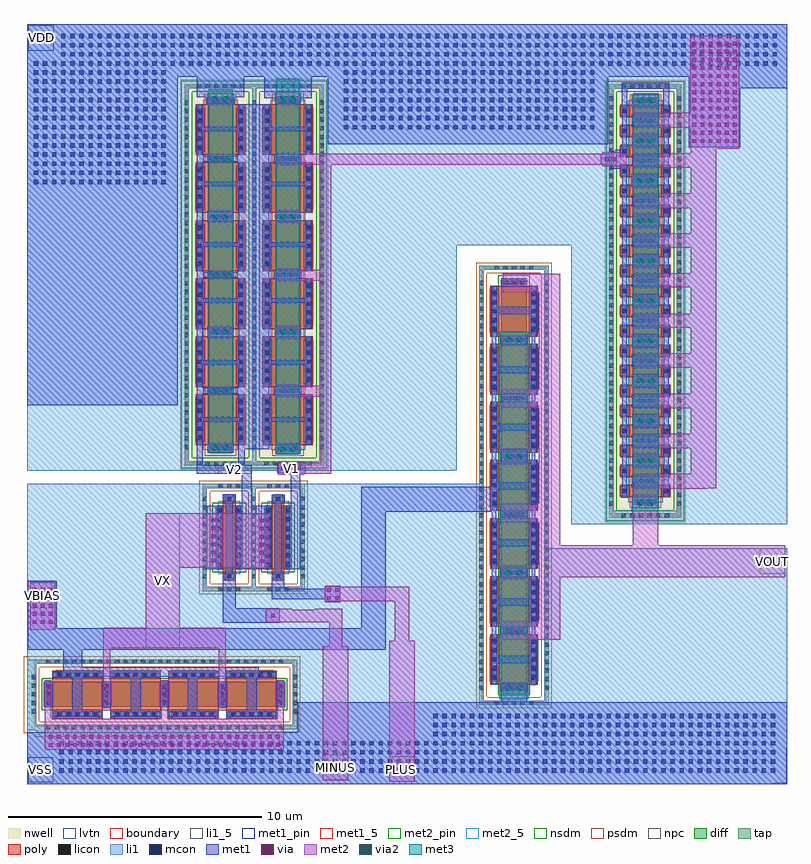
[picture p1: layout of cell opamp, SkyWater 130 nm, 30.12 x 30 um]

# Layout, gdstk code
from math import pi, radians
import gdstk
lib = gdstk.Library(unit=1e-6, precision=1e-09)
def R(c, l, rs):  # rectangles x0, y0, x1, y1
    for r in rs: c.add(gdstk.rectangle(r[:2], r[2:], *l))
def A(c, l, x, y, w, h, nx, ny, dx, dy):  # array of equal rectangles
    R(c, l, [(x+i*dx, y+j*dy, x+i*dx+w, y+j*dy+h) for i in range(nx) for j in range(ny)])
nwell = (64, 20)
diff = (65, 20)
tap = (65, 44)
poly = (66, 20)
licon = (66, 44)
li1_5 = (67, 5)
li1 = (67, 20)
mcon = (67, 44)
met1_5 = (68, 5)
met1_pin = (68, 16)
met1 = (68, 20)
via = (68, 44)
met2_5 = (69, 5)
met2_pin = (69, 16)
met2 = (69, 20)
via2 = (69, 44)
met3 = (70, 20)
nsdm = (93, 44)
psdm = (94, 20)
npc = (95, 20)
lvtn = (125, 44)
boundary = (235, 4)

sky130_fd_pr__pfet_01v8_ = lib.new_cell('sky130_fd_pr__pfet_01v8_lvt_ER3WAW')
R(sky130_fd_pr__pfet_01v8_, nwell, [(-8.735,-1.595,8.735,1.595)])
R(sky130_fd_pr__pfet_01v8_, diff, [(-8.045,-0.5,8.045,0.5)])
R(sky130_fd_pr__pfet_01v8_, tap, [(-8.555,-1.415,8.555,-1.245), (-8.555,-1.245,-8.385,1.245), (8.385,-1.245,8.555,1.245), (-8.555,1.245,8.555,1.415)])
A(sky130_fd_pr__pfet_01v8_, poly, -7.755, -0.985, 0.5, 1.97, 20, 1, 0.79, 0)
A(sky130_fd_pr__pfet_01v8_, licon, -8.075, -1.415, 0.17, 0.17, 48, 2, 0.34, 2.66)
A(sky130_fd_pr__pfet_01v8_, licon, -8.555, -0.935, 0.17, 0.17, 1, 6, 0, 0.34)
A(sky130_fd_pr__pfet_01v8_, licon, 8.385, -0.935, 0.17, 0.17, 1, 6, 0, 0.34)
A(sky130_fd_pr__pfet_01v8_, licon, -7.59, -0.905, 0.17, 0.17, 20, 2, 0.79, 1.64)
A(sky130_fd_pr__pfet_01v8_, licon, -7.985, -0.425, 0.17, 0.17, 21, 3, 0.79, 0.34)
A(sky130_fd_pr__pfet_01v8_, li1, -7.755, -0.905, 0.5, 0.17, 20, 2, 0.79, 1.64)
A(sky130_fd_pr__pfet_01v8_, li1, -7.985, -0.52, 0.17, 1.04, 21, 1, 0.79, 0)
R(sky130_fd_pr__pfet_01v8_, li1, [(-8.555,-1.415,8.555,-1.245), (-8.555,-1.245,-8.385,1.245), (8.385,-1.245,8.555,1.245), (-8.555,1.245,8.555,1.415)])
A(sky130_fd_pr__pfet_01v8_, mcon, -7.59, -0.905, 0.17, 0.17, 20, 2, 0.79, 1.64)
A(sky130_fd_pr__pfet_01v8_, mcon, -7.985, -0.265, 0.17, 0.17, 21, 2, 0.79, 0.36)
A(sky130_fd_pr__pfet_01v8_, met1, -7.735, -0.935, 0.46, 0.23, 20, 2, 0.79, 1.64)
A(sky130_fd_pr__pfet_01v8_, met1, -8.015, -0.5, 0.23, 1, 21, 1, 0.79, 0)
R(sky130_fd_pr__pfet_01v8_, nsdm, [(-8.68,-1.54,8.68,-1.12), (-8.68,-1.12,-8.26,1.12), (8.26,-1.12,8.68,1.12), (-8.68,1.12,8.68,1.54)])
R(sky130_fd_pr__pfet_01v8_, psdm, [(-8.17,-0.625,8.17,0.625)])
A(sky130_fd_pr__pfet_01v8_, npc, -7.69, -1.005, 0.37, 0.37, 20, 2, 0.79, 1.64)
R(sky130_fd_pr__pfet_01v8_, lvtn, [(-7.935,-0.68,7.935,0.68)])
R(sky130_fd_pr__pfet_01v8_, boundary, [(-8.47,-1.33,8.47,1.33)])

sky130_fd_pr__nfet_01v8_ = lib.new_cell('sky130_fd_pr__nfet_01v8_WWWVRA')
R(sky130_fd_pr__nfet_01v8_, diff, [(-8.16,-0.5,8.16,0.5)])
R(sky130_fd_pr__nfet_01v8_, tap, [(-8.67,-1.37,8.67,-1.2), (-8.67,-1.2,-8.5,1.2), (8.5,-1.2,8.67,1.2), (-8.67,1.2,8.67,1.37)])
A(sky130_fd_pr__nfet_01v8_, poly, -7.87, -0.94, 2, 1.88, 7, 1, 2.29, 0)
A(sky130_fd_pr__nfet_01v8_, licon, -8.075, -1.37, 0.17, 0.17, 48, 2, 0.34, 2.57)
A(sky130_fd_pr__nfet_01v8_, licon, -7.635, -0.86, 0.17, 0.17, 5, 2, 0.34, 1.55)
A(sky130_fd_pr__nfet_01v8_, licon, -5.345, -0.86, 0.17, 0.17, 5, 2, 0.34, 1.55)
A(sky130_fd_pr__nfet_01v8_, licon, -3.055, -0.86, 0.17, 0.17, 5, 2, 0.34, 1.55)
A(sky130_fd_pr__nfet_01v8_, licon, -0.765, -0.86, 0.17, 0.17, 5, 2, 0.34, 1.55)
A(sky130_fd_pr__nfet_01v8_, licon, 1.525, -0.86, 0.17, 0.17, 5, 2, 0.34, 1.55)
A(sky130_fd_pr__nfet_01v8_, licon, 3.815, -0.86, 0.17, 0.17, 5, 2, 0.34, 1.55)
A(sky130_fd_pr__nfet_01v8_, licon, 6.105, -0.86, 0.17, 0.17, 5, 2, 0.34, 1.55)
A(sky130_fd_pr__nfet_01v8_, licon, -8.67, -0.765, 0.17, 0.17, 1, 5, 0, 0.34)
A(sky130_fd_pr__nfet_01v8_, licon, 8.5, -0.765, 0.17, 0.17, 1, 5, 0, 0.34)
A(sky130_fd_pr__nfet_01v8_, licon, -8.1, -0.425, 0.17, 0.17, 8, 3, 2.29, 0.34)
A(sky130_fd_pr__nfet_01v8_, li1, -7.87, -0.86, 2, 0.17, 7, 2, 2.29, 1.55)
A(sky130_fd_pr__nfet_01v8_, li1, -8.1, -0.52, 0.17, 1.04, 8, 1, 2.29, 0)
R(sky130_fd_pr__nfet_01v8_, li1, [(-8.67,-1.37,8.67,-1.2), (-8.67,-1.2,-8.5,1.2), (8.5,-1.2,8.67,1.2), (-8.67,1.2,8.67,1.37)])
A(sky130_fd_pr__nfet_01v8_, mcon, -7.675, -0.86, 0.17, 0.17, 5, 2, 0.36, 1.55)
A(sky130_fd_pr__nfet_01v8_, mcon, -5.385, -0.86, 0.17, 0.17, 5, 2, 0.36, 1.55)
A(sky130_fd_pr__nfet_01v8_, mcon, -3.095, -0.86, 0.17, 0.17, 5, 2, 0.36, 1.55)
A(sky130_fd_pr__nfet_01v8_, mcon, -0.805, -0.86, 0.17, 0.17, 5, 2, 0.36, 1.55)
A(sky130_fd_pr__nfet_01v8_, mcon, 1.485, -0.86, 0.17, 0.17, 5, 2, 0.36, 1.55)
A(sky130_fd_pr__nfet_01v8_, mcon, 3.775, -0.86, 0.17, 0.17, 5, 2, 0.36, 1.55)
A(sky130_fd_pr__nfet_01v8_, mcon, 6.065, -0.86, 0.17, 0.17, 5, 2, 0.36, 1.55)
A(sky130_fd_pr__nfet_01v8_, mcon, -8.1, -0.265, 0.17, 0.17, 8, 2, 2.29, 0.36)
A(sky130_fd_pr__nfet_01v8_, met1, -7.85, -0.89, 1.96, 0.23, 7, 2, 2.29, 1.55)
A(sky130_fd_pr__nfet_01v8_, met1, -8.13, -0.5, 0.23, 1, 8, 1, 2.29, 0)
R(sky130_fd_pr__nfet_01v8_, nsdm, [(-8.285,-0.625,8.285,0.625)])
R(sky130_fd_pr__nfet_01v8_, psdm, [(-8.795,-1.495,8.795,-1.075), (-8.795,-1.075,-8.375,1.075), (8.375,-1.075,8.795,1.075), (-8.795,1.075,8.795,1.495)])
A(sky130_fd_pr__nfet_01v8_, npc, -7.735, -0.96, 1.73, 0.37, 7, 2, 2.29, 1.55)
R(sky130_fd_pr__nfet_01v8_, boundary, [(-8.58,-1.28,8.58,1.28)])

c_sky130_fd_pr__pfet_01v8_ = lib.new_cell('sky130_fd_pr__pfet_01v8_lvt_GW6ZVV')
R(c_sky130_fd_pr__pfet_01v8_, nwell, [(-7.705,-1.595,7.705,1.595)])
R(c_sky130_fd_pr__pfet_01v8_, diff, [(-7.015,-0.5,7.015,0.5)])
R(c_sky130_fd_pr__pfet_01v8_, tap, [(-7.525,-1.415,7.525,-1.245), (-7.525,-1.245,-7.355,1.245), (7.355,-1.245,7.525,1.245), (-7.525,1.245,7.525,1.415)])
A(c_sky130_fd_pr__pfet_01v8_, poly, -6.725, -0.985, 2, 1.97, 6, 1, 2.29, 0)
A(c_sky130_fd_pr__pfet_01v8_, licon, -6.885, -1.415, 0.17, 0.17, 41, 2, 0.34, 2.66)
A(c_sky130_fd_pr__pfet_01v8_, licon, -7.525, -0.935, 0.17, 0.17, 1, 6, 0, 0.34)
A(c_sky130_fd_pr__pfet_01v8_, licon, 7.355, -0.935, 0.17, 0.17, 1, 6, 0, 0.34)
A(c_sky130_fd_pr__pfet_01v8_, licon, -6.49, -0.905, 0.17, 0.17, 5, 2, 0.34, 1.64)
A(c_sky130_fd_pr__pfet_01v8_, licon, -4.2, -0.905, 0.17, 0.17, 5, 2, 0.34, 1.64)
A(c_sky130_fd_pr__pfet_01v8_, licon, -1.91, -0.905, 0.17, 0.17, 5, 2, 0.34, 1.64)
A(c_sky130_fd_pr__pfet_01v8_, licon, 0.38, -0.905, 0.17, 0.17, 5, 2, 0.34, 1.64)
A(c_sky130_fd_pr__pfet_01v8_, licon, 2.67, -0.905, 0.17, 0.17, 5, 2, 0.34, 1.64)
A(c_sky130_fd_pr__pfet_01v8_, licon, 4.96, -0.905, 0.17, 0.17, 5, 2, 0.34, 1.64)
A(c_sky130_fd_pr__pfet_01v8_, licon, -6.955, -0.425, 0.17, 0.17, 7, 3, 2.29, 0.34)
A(c_sky130_fd_pr__pfet_01v8_, li1, -6.725, -0.905, 2, 0.17, 6, 2, 2.29, 1.64)
A(c_sky130_fd_pr__pfet_01v8_, li1, -6.955, -0.52, 0.17, 1.04, 7, 1, 2.29, 0)
R(c_sky130_fd_pr__pfet_01v8_, li1, [(-7.525,-1.415,7.525,-1.245), (-7.525,-1.245,-7.355,1.245), (7.355,-1.245,7.525,1.245), (-7.525,1.245,7.525,1.415)])
A(c_sky130_fd_pr__pfet_01v8_, mcon, -6.53, -0.905, 0.17, 0.17, 5, 2, 0.36, 1.64)
A(c_sky130_fd_pr__pfet_01v8_, mcon, -4.24, -0.905, 0.17, 0.17, 5, 2, 0.36, 1.64)
A(c_sky130_fd_pr__pfet_01v8_, mcon, -1.95, -0.905, 0.17, 0.17, 5, 2, 0.36, 1.64)
A(c_sky130_fd_pr__pfet_01v8_, mcon, 0.34, -0.905, 0.17, 0.17, 5, 2, 0.36, 1.64)
A(c_sky130_fd_pr__pfet_01v8_, mcon, 2.63, -0.905, 0.17, 0.17, 5, 2, 0.36, 1.64)
A(c_sky130_fd_pr__pfet_01v8_, mcon, 4.92, -0.905, 0.17, 0.17, 5, 2, 0.36, 1.64)
A(c_sky130_fd_pr__pfet_01v8_, mcon, -6.955, -0.265, 0.17, 0.17, 7, 2, 2.29, 0.36)
A(c_sky130_fd_pr__pfet_01v8_, met1, -6.705, -0.935, 1.96, 0.23, 6, 2, 2.29, 1.64)
A(c_sky130_fd_pr__pfet_01v8_, met1, -6.985, -0.5, 0.23, 1, 7, 1, 2.29, 0)
R(c_sky130_fd_pr__pfet_01v8_, nsdm, [(-7.65,-1.54,7.65,-1.12), (-7.65,-1.12,-7.23,1.12), (7.23,-1.12,7.65,1.12), (-7.65,1.12,7.65,1.54)])
R(c_sky130_fd_pr__pfet_01v8_, psdm, [(-7.14,-0.625,7.14,0.625)])
A(c_sky130_fd_pr__pfet_01v8_, npc, -6.59, -1.005, 1.73, 0.37, 6, 2, 2.29, 1.64)
R(c_sky130_fd_pr__pfet_01v8_, lvtn, [(-6.905,-0.68,6.905,0.68)])
R(c_sky130_fd_pr__pfet_01v8_, boundary, [(-7.44,-1.33,7.44,1.33)])

c_sky130_fd_pr__nfet_01v8_ = lib.new_cell('sky130_fd_pr__nfet_01v8_VWWVRL')
R(c_sky130_fd_pr__nfet_01v8_, diff, [(-4.725,-0.5,4.725,0.5)])
R(c_sky130_fd_pr__nfet_01v8_, tap, [(-5.235,-1.37,5.235,-1.2), (-5.235,-1.2,-5.065,1.2), (5.065,-1.2,5.235,1.2), (-5.235,1.2,5.235,1.37)])
A(c_sky130_fd_pr__nfet_01v8_, poly, -4.435, -0.94, 2, 1.88, 4, 1, 2.29, 0)
A(c_sky130_fd_pr__nfet_01v8_, licon, -4.675, -1.37, 0.17, 0.17, 28, 2, 0.34, 2.57)
A(c_sky130_fd_pr__nfet_01v8_, licon, -4.2, -0.86, 0.17, 0.17, 5, 2, 0.34, 1.55)
A(c_sky130_fd_pr__nfet_01v8_, licon, -1.91, -0.86, 0.17, 0.17, 5, 2, 0.34, 1.55)
A(c_sky130_fd_pr__nfet_01v8_, licon, 0.38, -0.86, 0.17, 0.17, 5, 2, 0.34, 1.55)
A(c_sky130_fd_pr__nfet_01v8_, licon, 2.67, -0.86, 0.17, 0.17, 5, 2, 0.34, 1.55)
A(c_sky130_fd_pr__nfet_01v8_, licon, -5.235, -0.765, 0.17, 0.17, 1, 5, 0, 0.34)
A(c_sky130_fd_pr__nfet_01v8_, licon, 5.065, -0.765, 0.17, 0.17, 1, 5, 0, 0.34)
A(c_sky130_fd_pr__nfet_01v8_, licon, -4.665, -0.425, 0.17, 0.17, 5, 3, 2.29, 0.34)
A(c_sky130_fd_pr__nfet_01v8_, li1, -4.435, -0.86, 2, 0.17, 4, 2, 2.29, 1.55)
A(c_sky130_fd_pr__nfet_01v8_, li1, -4.665, -0.52, 0.17, 1.04, 5, 1, 2.29, 0)
R(c_sky130_fd_pr__nfet_01v8_, li1, [(-5.235,-1.37,5.235,-1.2), (-5.235,-1.2,-5.065,1.2), (5.065,-1.2,5.235,1.2), (-5.235,1.2,5.235,1.37)])
A(c_sky130_fd_pr__nfet_01v8_, mcon, -4.24, -0.86, 0.17, 0.17, 5, 2, 0.36, 1.55)
A(c_sky130_fd_pr__nfet_01v8_, mcon, -1.95, -0.86, 0.17, 0.17, 5, 2, 0.36, 1.55)
A(c_sky130_fd_pr__nfet_01v8_, mcon, 0.34, -0.86, 0.17, 0.17, 5, 2, 0.36, 1.55)
A(c_sky130_fd_pr__nfet_01v8_, mcon, 2.63, -0.86, 0.17, 0.17, 5, 2, 0.36, 1.55)
A(c_sky130_fd_pr__nfet_01v8_, mcon, -4.665, -0.265, 0.17, 0.17, 5, 2, 2.29, 0.36)
A(c_sky130_fd_pr__nfet_01v8_, met1, -4.415, -0.89, 1.96, 0.23, 4, 2, 2.29, 1.55)
A(c_sky130_fd_pr__nfet_01v8_, met1, -4.695, -0.5, 0.23, 1, 5, 1, 2.29, 0)
R(c_sky130_fd_pr__nfet_01v8_, nsdm, [(-4.85,-0.625,4.85,0.625)])
R(c_sky130_fd_pr__nfet_01v8_, psdm, [(-5.36,-1.495,5.36,-1.075), (-5.36,-1.075,-4.94,1.075), (4.94,-1.075,5.36,1.075), (-5.36,1.075,5.36,1.495)])
A(c_sky130_fd_pr__nfet_01v8_, npc, -4.3, -0.96, 1.73, 0.37, 4, 2, 2.29, 1.55)
R(c_sky130_fd_pr__nfet_01v8_, boundary, [(-5.15,-1.285,5.15,1.285)])

c_sky130_fd_pr__nfet_01v8__ = lib.new_cell('sky130_fd_pr__nfet_01v8_lvt_8TELWR')
R(c_sky130_fd_pr__nfet_01v8__, diff, [(-0.54,-1.25,0.54,1.25)])
R(c_sky130_fd_pr__nfet_01v8__, tap, [(-1.05,-2.12,1.05,-1.95), (-1.05,-1.95,-0.88,1.95), (0.88,-1.95,1.05,1.95), (-1.05,1.95,1.05,2.12)])
R(c_sky130_fd_pr__nfet_01v8__, poly, [(-0.25,-1.69,0.25,1.69)])
A(c_sky130_fd_pr__nfet_01v8__, licon, -0.425, -2.12, 0.17, 0.17, 3, 2, 0.34, 4.07)
A(c_sky130_fd_pr__nfet_01v8__, licon, -1.05, -1.615, 0.17, 0.17, 1, 10, 0, 0.34)
A(c_sky130_fd_pr__nfet_01v8__, licon, 0.88, -1.615, 0.17, 0.17, 1, 10, 0, 0.34)
A(c_sky130_fd_pr__nfet_01v8__, licon, -0.48, -1.105, 0.17, 0.17, 1, 7, 0, 0.34)
A(c_sky130_fd_pr__nfet_01v8__, licon, 0.31, -1.105, 0.17, 0.17, 1, 7, 0, 0.34)
R(c_sky130_fd_pr__nfet_01v8__, licon, [(-0.085,-1.61,0.085,-1.44), (-0.085,1.44,0.085,1.61)])
R(c_sky130_fd_pr__nfet_01v8__, li1, [(-1.05,-2.12,1.05,-1.95), (-1.05,-1.95,-0.88,1.95), (0.88,-1.95,1.05,1.95), (-0.25,-1.61,0.25,-1.44), (-0.48,-1.27,-0.31,1.27), (0.31,-1.27,0.48,1.27), (-0.25,1.44,0.25,1.61), (-1.05,1.95,1.05,2.12)])
A(c_sky130_fd_pr__nfet_01v8__, mcon, -0.48, -1.165, 0.17, 0.17, 1, 7, 0, 0.36)
A(c_sky130_fd_pr__nfet_01v8__, mcon, 0.31, -1.165, 0.17, 0.17, 1, 7, 0, 0.36)
R(c_sky130_fd_pr__nfet_01v8__, mcon, [(-0.085,-1.61,0.085,-1.44), (-0.085,1.44,0.085,1.61)])
R(c_sky130_fd_pr__nfet_01v8__, met1, [(-0.23,-1.64,0.23,-1.41), (-0.51,-1.25,-0.28,1.25), (0.28,-1.25,0.51,1.25), (-0.23,1.41,0.23,1.64)])
R(c_sky130_fd_pr__nfet_01v8__, nsdm, [(-0.665,-1.375,0.665,1.375)])
R(c_sky130_fd_pr__nfet_01v8__, psdm, [(-1.175,-2.245,1.175,-1.825), (-1.175,-1.825,-0.755,1.825), (0.755,-1.825,1.175,1.825), (-1.175,1.825,1.175,2.245)])
R(c_sky130_fd_pr__nfet_01v8__, npc, [(-0.185,-1.71,0.185,-1.34), (-0.185,1.34,0.185,1.71)])
R(c_sky130_fd_pr__nfet_01v8__, lvtn, [(-0.43,-1.43,0.43,1.43)])
R(c_sky130_fd_pr__nfet_01v8__, boundary, [(-0.96,-2.03,0.96,2.03)])

opamp = lib.new_cell('opamp')
R(opamp, tap, [(10.39,-13.5,16.91,-13.42), (10.3,-13.42,16.91,-13.37), (9.94,-13.37,16.91,-13.29), (9.94,-13.29,10.3,-10.59), (10.39,-13.29,16.91,-13.25)])
R(opamp, li1_5, [(14.63,-10.14,15.975,-4.82)])
R(opamp, li1, [(9.94,-15.5,39.39,-15.48), (9.94,-15.48,39.94,-13.29), (9.94,-13.29,10.3,-10.62), (10.39,-13.29,39.94,-13.25), (16.5,-13.25,39.94,-13.24), (19.9,-13.24,39.94,-13.16), (20.43,-13.16,39.94,-13.08), (20.59,-13.08,39.94,-12.83), (20.48,-12.83,39.94,-12.36), (20.48,-12.36,27.87,-10.68), (30.5,-12.36,39.94,-12.28), (30.46,-12.28,39.94,-6.2), (20.56,-10.68,27.85,-10.65), (10.33,-10.65,27.89,-10.62), (9.94,-10.62,27.89,-7.84), (9.94,-7.84,16.97,-3.65), (20.8,-7.84,27.85,-3.65), (31.43,-5.24,39.94,-4.71), (31.43,-4.71,32.98,5.76), (35.62,-4.71,39.94,-4.57), (35.64,-4.57,39.94,12.02), (9.94,-3.13,26.76,-3.12), (9.94,-3.12,26.91,-2.83), (9.94,-2.83,16.21,11.99), (21.56,-2.83,26.91,5.76), (21.56,5.76,33.03,11.99), (9.94,11.99,33.03,12.03), (34.3,12.02,39.94,12.03), (9.94,12.03,39.94,14.5)])
A(opamp, mcon, 11.215, -15.055, 0.17, 0.17, 79, 4, 0.36, 0.36)
A(opamp, mcon, 25.975, -13.615, 0.17, 0.17, 38, 3, 0.36, 0.36)
A(opamp, mcon, 10.205, 8.18, 0.17, 0.17, 15, 13, 0.36, 0.36)
A(opamp, mcon, 22.445, 10.34, 0.17, 0.17, 28, 7, 0.36, 0.36)
A(opamp, mcon, 10.205, 12.86, 0.17, 0.17, 82, 1, 0.36, 0)
A(opamp, mcon, 11.285, 13.22, 0.17, 0.17, 79, 3, 0.36, 0.36)
R(opamp, met1_5, [(17.48,-3.25,18.8,-2.91)])
R(opamp, met1_pin, [(9.98,-15.44,10.98,-14.44), (9.99,13.45,10.99,14.45)])
A(opamp, met1, 33.81, 0.97, 1.09, 0.48, 1, 4, 0, 1.58)
A(opamp, met1, 33.82, 3.33, 1.09, 0.48, 1, 3, 0, 1.58)
R(opamp, met1, [(9.94,-15.5,39.92,-14.07), (9.94,-14.07,39.94,-13.45), (20.63,-13.45,39.94,-12.27), (11.73,-12.74,12.11,-11.27), (16.28,-12.74,16.66,-11.27), (18.62,-12.74,19,-11.27), (14.04,-12.73,14.42,-11.27), (10.59,-12.46,10.95,-11.46), (12.89,-12.46,13.27,-11.46), (15.17,-12.46,15.55,-11.46), (17.46,-12.46,17.84,-11.46), (19.76,-12.46,20.14,-11.46), (28.66,-12.27,29.66,-11.87), (28.64,-11.87,29.68,-11.53), (29.86,-11.6,30,-10.73), (28.29,-11.51,28.46,-10.73), (11.63,-11.27,19.09,-11.22), (11.36,-11.22,19.09,-10.9), (11.36,-10.9,12.11,-10.21), (28.29,-10.73,30,-10.44), (28.29,-10.44,28.46,-8.46), (29.86,-10.44,30,-8.46), (9.98,-10.21,23.67,-10.205), (9.98,-10.205,24.1,-10.2), (9.97,-10.2,24.1,-9.345), (28.64,-9.57,29.68,-9.3), (9.97,-9.345,11.12,-7.48), (23.125,-9.345,24.1,-4.75), (17.67,-9.14,19.91,-8.56), (17.67,-8.56,18.17,-7.18), (28.29,-8.46,30,-8.17), (21.715,-8.325,22.31,-8.2), (19.6,-8.2,22.31,-7.79), (28.29,-8.17,28.46,-6.12), (29.86,-8.17,30,-6.12), (19.6,-7.79,20.1,-7.18), (21.715,-7.79,22.31,-7.67), (28.64,-7.35,29.68,-6.96), (17.78,-7.18,18.06,-4.36), (19.71,-7.18,19.99,-4.38), (20.13,-7.03,20.73,-4.52), (17.04,-7.02,17.64,-4.51), (18.2,-7.02,18.8,-4.51), (18.97,-7.02,19.57,-6.89), (18.94,-6.89,19.57,-4.9), (28.29,-6.12,30,-5.83), (28.29,-5.83,28.46,-4.75), (29.86,-5.83,30,-3.88), (28.64,-4.98,29.68,-4.72), (18.97,-4.9,19.57,-4.52), (23.125,-4.75,28.46,-3.88), (33.81,-4.61,34.87,-4.17), (20.35,-4.52,20.73,-3.24), (18.41,-4.51,18.8,-3.25), (19.6,-4.38,20.11,-4.08), (17.67,-4.36,18.17,-4.07), (33.43,-4.21,33.62,8.78), (35.07,-4.18,35.26,11.07), (23.125,-3.88,30,-3.775), (33.81,-3.79,34.9,-3.31), (28.29,-3.775,30,-3.59), (28.29,-3.59,28.46,-2.73), (29.86,-3.59,30,-1.56), (16.63,-3.25,18.8,-2.91), (19.81,-3.24,20.94,-2.82), (33.82,-2.98,34.91,-2.5), (16.63,-2.91,16.88,-2.01), (18.28,-2.91,18.53,-2.29), (28.64,-2.82,29.68,-2.31), (28.29,-2.73,28.49,-2.72), (28.29,-2.72,28.45,-2.4), (19.77,-2.46,20.7,-2.44), (19.74,-2.44,20.74,-2.09), (17.12,-2.43,18.03,-2.39), (28.29,-2.4,28.46,-1.56), (17.08,-2.39,18.09,-2.09), (18.28,-2.29,19.49,-1.98), (33.81,-2.2,34.9,-1.72), (17.12,-2.09,18.03,-2.08), (16.63,-2.01,16.85,-1.3), (18.29,-1.98,19.49,-1.21), (28.29,-1.56,30,-1.27), (33.82,-1.41,34.91,-0.93), (16.63,-1.3,16.88,-1.21), (28.29,-1.27,28.46,0.71), (29.86,-1.27,30,0.71), (16.63,-1.21,21.1,-1.03), (16.63,-1.03,16.88,-1), (18.29,-1.03,19.49,-0.2), (16.63,-1,16.85,-0.16), (33.81,-0.62,34.9,-0.14), (9.94,-0.55,15.89,12.41), (28.65,-0.44,29.66,-0.08), (18.28,-0.2,19.49,-0.09), (16.63,-0.16,16.87,-0.09), (19.68,-0.16,20.79,0.21), (16.63,-0.09,19.49,0.14), (16.63,0.14,16.87,0.23), (18.28,0.14,19.49,0.22), (33.81,0.17,34.9,0.65), (18.29,0.22,19.49,1.05), (16.63,0.23,16.85,1.05), (28.29,0.71,30,1), (28.29,1,28.46,3.04), (29.86,1,30,2.22), (16.63,1.05,21.11,1.23), (16.63,1.23,16.88,1.41), (18.29,1.23,19.49,3.49), (16.63,1.41,16.85,2.14), (33.8,1.75,34.89,2.23), (28.64,1.82,29.68,2.21), (17.12,2.13,18.03,2.15), (19.72,2.13,20.73,2.53), (16.63,2.14,16.87,2.19), (17.06,2.15,18.1,2.51), (16.63,2.19,16.88,2.44), (16.63,2.44,16.87,2.57), (16.63,2.57,16.85,3.39), (28.29,3.04,29.83,3.33), (28.29,3.33,28.46,4.14), (16.63,3.39,16.88,3.49), (16.63,3.49,21.16,3.67), (16.63,3.67,16.88,3.69), (18.29,3.67,19.49,4.39), (16.63,3.69,16.85,4.41), (29.86,4.1,30,4.13), (28.66,4.11,29.67,4.47), (18.28,4.39,19.49,4.48), (16.63,4.41,16.87,4.48), (19.68,4.42,20.79,4.79), (16.63,4.48,19.49,4.71), (16.63,4.71,16.87,4.87), (18.28,4.71,19.49,4.86), (18.29,4.86,19.49,5.7), (16.63,4.87,16.85,5.62), (16.63,5.62,16.88,5.7), (16.63,5.7,21.13,5.88), (16.63,5.88,16.88,5.92), (18.29,5.88,19.49,8.09), (16.63,5.92,16.85,6.59), (16.63,6.59,16.87,6.78), (19.73,6.7,20.74,7.1), (17.05,6.72,18.09,7.08), (16.63,6.78,16.88,7.03), (16.63,7.03,16.87,7.21), (16.63,7.21,16.85,7.92), (33.8,7.28,34.89,7.76), (16.63,7.92,16.88,8.09), (33.79,8.08,34.88,8.56), (16.63,8.09,21.11,8.27), (16.63,8.27,16.85,8.96), (18.29,8.27,19.49,9), (32.99,8.78,33.62,8.94), (33.8,8.87,34.89,9.35), (32.59,8.94,33.62,9.38), (16.63,8.96,16.87,9.07), (19.68,8.98,20.79,9.35), (18.28,9,19.49,9.07), (16.63,9.07,19.49,9.3), (16.63,9.3,16.87,9.44), (18.28,9.3,19.49,9.47), (32.99,9.38,33.62,9.48), (16.63,9.44,16.85,10.18), (18.29,9.47,19.49,10.26), (33.16,9.48,33.62,9.53), (33.43,9.53,33.62,11.065), (36.06,9.63,38.1,11.96), (33.8,9.65,34.89,10.13), (21.81,9.76,32.88,12.41), (16.63,10.18,16.88,10.26), (16.63,10.26,21.16,10.44), (16.63,10.44,16.88,11.09), (18.29,10.44,19.49,11.21), (33.81,10.45,34.9,10.93), (33.41,11.065,33.64,11.945), (35.05,11.07,35.28,11.945), (16.64,11.09,16.88,11.1), (16.64,11.1,16.87,11.22), (18.31,11.21,19.49,11.34), (33.81,11.23,34.9,11.71), (17.01,11.36,18.13,11.61), (19.73,11.37,20.74,11.56), (19.3,11.56,21.18,12.41), (16.63,11.61,18.51,12.41), (33.41,11.945,35.28,12.175), (36.05,11.96,39.94,12.42), (9.94,12.41,32.88,12.42), (9.94,12.42,39.94,14.5)])
A(opamp, via, 10.8, -14.035, 0.15, 0.15, 29, 2, 0.32, 0.32)
A(opamp, via, 10.695, -12.355, 0.15, 0.15, 1, 3, 0, 0.32)
A(opamp, via, 13.005, -12.355, 0.15, 0.15, 1, 3, 0, 0.32)
A(opamp, via, 15.285, -12.355, 0.15, 0.15, 1, 3, 0, 0.32)
A(opamp, via, 17.575, -12.355, 0.15, 0.15, 1, 3, 0, 0.32)
A(opamp, via, 19.875, -12.355, 0.15, 0.15, 1, 3, 0, 0.32)
A(opamp, via, 28.77, -11.775, 0.15, 0.15, 3, 2, 0.32, 13.73)
A(opamp, via, 28.76, -9.51, 0.15, 0.15, 3, 2, 0.32, 9.175)
A(opamp, via, 10.165, -9.18, 0.15, 0.15, 3, 5, 0.32, 0.32)
A(opamp, via, 28.765, -7.225, 0.15, 0.15, 3, 2, 0.32, 2.3)
A(opamp, via, 19.125, -6.77, 0.15, 0.15, 1, 6, 0, 0.32)
A(opamp, via, 17.21, -6.755, 0.15, 0.15, 1, 6, 0, 0.32)
A(opamp, via, 33.945, -4.465, 0.15, 0.15, 3, 1, 0.32, 0)
A(opamp, via, 33.96, -3.625, 0.15, 0.15, 3, 2, 0.32, 1.59)
A(opamp, via, 19.98, -3.105, 0.15, 0.15, 3, 1, 0.32, 0)
A(opamp, via, 33.97, -2.815, 0.15, 0.15, 3, 2, 0.32, 1.57)
A(opamp, via, 28.765, -2.64, 0.15, 0.15, 3, 1, 0.32, 0)
A(opamp, via, 19.845, -2.34, 0.15, 0.15, 3, 1, 0.32, 0)
A(opamp, via, 17.19, -2.315, 0.15, 0.15, 3, 1, 0.32, 0)
A(opamp, via, 33.96, -0.455, 0.15, 0.15, 3, 2, 0.32, 0.79)
A(opamp, via, 19.84, -0.05, 0.15, 0.15, 3, 2, 0.32, 4.58)
A(opamp, via, 33.96, 1.135, 0.15, 0.15, 3, 4, 0.32, 1.58)
A(opamp, via, 33.95, 1.915, 0.15, 0.15, 3, 2, 0.32, 5.53)
A(opamp, via, 17.185, 2.255, 0.15, 0.15, 3, 1, 0.32, 0)
A(opamp, via, 19.83, 2.255, 0.15, 0.15, 3, 1, 0.32, 0)
A(opamp, via, 33.97, 3.495, 0.15, 0.15, 3, 3, 0.32, 1.58)
A(opamp, via, 28.77, 4.215, 0.15, 0.15, 3, 1, 0.32, 0)
A(opamp, via, 17.175, 6.825, 0.15, 0.15, 3, 2, 0.32, 4.64)
A(opamp, via, 19.84, 6.825, 0.15, 0.15, 3, 2, 0.32, 2.265)
A(opamp, via, 33.94, 8.245, 0.15, 0.15, 3, 1, 0.32, 0)
A(opamp, via, 33.95, 9.035, 0.15, 0.15, 3, 2, 0.32, 0.78)
A(opamp, via, 36.205, 9.81, 0.15, 0.15, 6, 13, 0.32, 0.32)
A(opamp, via, 33.96, 10.615, 0.15, 0.15, 3, 2, 0.32, 0.78)
A(opamp, via, 19.84, 11.495, 0.15, 0.15, 3, 1, 0.32, 0)
R(opamp, via, [(19.575,-8.925,19.725,-8.775), (21.775,-8.235,21.925,-8.085), (22.095,-8.235,22.245,-8.085), (21.775,-7.915,21.925,-7.765), (22.095,-7.915,22.245,-7.765), (32.75,9.085,32.9,9.235), (33.07,9.085,33.22,9.235)])
R(opamp, met2_5, [(20.03,-3.21,20.73,-2.9)])
R(opamp, met2_pin, [(24.23,-15.41,25.23,-14.41), (21.62,-15.35,22.62,-14.35), (10.06,-8.56,11.06,-7.56), (38.86,-7.2,39.86,-6.2)])
A(opamp, met2, 33.87, 3.28, 0.99, 0.58, 1, 3, 0, 1.58)
R(opamp, met2, [(24.23,-15.41,25.24,-14.41), (21.62,-15.35,22.62,-10.06), (24.24,-14.41,25.24,-9.84), (10.66,-14.14,20.05,-14.09), (10.64,-14.09,20.08,-12.93), (10.64,-12.93,10.9,-11.41), (15.23,-12.93,15.49,-12.51), (19.82,-12.93,20.08,-12.51), (12.94,-12.51,13.22,-10.14), (15.22,-12.51,15.5,-11.41), (17.51,-12.51,17.79,-10.14), (19.81,-12.51,20.09,-11.41), (28.69,-11.93,29.64,-11.49), (12.94,-10.14,17.79,-9.34), (21.86,-10.06,22.38,-9.11), (24.455,-9.84,25.025,-8.285), (28.66,-9.81,30.99,-9.08), (10.06,-9.42,11.06,-7.51), (14.63,-9.34,15.97,-9.17), (14.63,-9.17,15.975,-6.97), (19.36,-9.11,22.38,-8.63), (30.13,-9.08,30.99,-7.34), (19.36,-8.63,20.39,-8.59), (21.3,-8.63,22.38,-8.59), (21.685,-8.295,22.34,-8.285), (21.685,-8.285,25.025,-7.715), (21.685,-7.715,22.34,-7.7), (28.68,-7.41,29.64,-6.89), (30.13,-7.34,39.87,-6.08), (18.52,-6.98,19.49,-6.97), (14.63,-6.97,19.49,-4.82), (30.13,-6.08,30.99,-5.17), (33.85,-6.08,34.85,-4.68), (28.63,-5.17,30.99,-4.44), (33.83,-4.68,34.85,-4.16), (30.13,-4.44,30.99,-0.64), (33.86,-4.16,34.82,-4.12), (33.86,-4.12,34.8,-4.08), (33.86,-3.84,36.79,-3.82), (33.86,-3.82,37.15,-3.26), (19.86,-3.29,20.89,-3.25), (36.13,-3.26,37.15,-2.25), (19.85,-3.25,21.955,-2.82), (33.87,-3.03,34.86,-2.45), (28.68,-2.87,29.64,-2.26), (19.86,-2.82,20.89,-2.77), (21.525,-2.82,21.955,-0.215), (19.79,-2.49,20.69,-2.04), (17.13,-2.44,18.04,-2.04), (33.86,-2.25,37.15,-1.67), (36.13,-1.67,37.15,-0.66), (33.87,-1.46,34.86,-0.88), (33.86,-0.67,34.85,-0.66), (33.86,-0.66,37.15,-0.105), (28.7,-0.64,30.99,0.09), (19.715,-0.215,21.955,0.215), (33.86,-0.105,34.85,-0.09), (36.13,-0.105,37.15,0.94), (30.13,0.09,30.99,3.91), (33.86,0.12,34.85,0.7), (19.73,0.215,20.74,0.26), (21.525,0.215,21.955,4.375), (33.86,0.92,34.85,0.94), (33.86,0.94,37.15,1.495), (33.86,1.495,34.85,1.5), (36.13,1.495,37.15,2.505), (33.85,1.7,34.84,2.28), (28.69,1.84,29.64,2.22), (19.77,2.08,20.68,2.58), (17.11,2.1,18.05,2.56), (33.86,2.5,34.85,2.505), (33.86,2.505,37.15,3.065), (33.86,3.065,34.85,3.08), (36.13,3.065,37.15,4.1), (28.72,3.91,30.99,4.06), (28.71,4.06,30.99,4.52), (33.86,4.08,34.85,4.1), (33.86,4.1,37.15,4.66), (19.73,4.37,20.74,4.375), (19.73,4.375,21.955,4.805), (28.72,4.52,30.99,4.64), (30.13,4.64,30.99,4.65), (36.13,4.66,37.15,5.66), (19.73,4.805,20.74,4.84), (21.525,4.805,21.955,8.945), (33.86,5.66,37.15,6.24), (36.13,6.24,37.15,7.23), (19.78,6.65,20.69,7.15), (17.1,6.67,18.04,7.13), (33.85,7.23,37.15,7.81), (36.13,7.81,37.15,8.82), (33.84,8.03,34.83,8.61), (33.85,8.82,37.15,9.4), (32.64,8.89,33.33,8.945), (19.73,8.93,20.74,8.945), (19.73,8.945,33.605,9.375), (19.73,9.375,20.74,9.4), (32.64,9.375,33.33,9.43), (36.13,9.4,37.15,9.58), (36.11,9.58,38.05,10.41), (33.85,9.6,34.84,10.18), (33.86,10.4,34.85,10.41), (33.86,10.41,38.05,10.99), (36.11,10.99,38.05,14.03), (33.86,11.18,34.85,11.76), (17.1,11.31,18.04,11.77), (19.78,11.32,20.69,11.82)])
A(opamp, via2, 34.065, 3.47, 0.2, 0.2, 1, 3, 0, 1.58)
A(opamp, via2, 34.465, 3.47, 0.2, 0.2, 1, 3, 0, 1.58)
R(opamp, via2, [(28.865,-11.81,29.065,-11.61), (29.265,-11.81,29.465,-11.61), (28.86,-7.25,29.06,-7.05), (29.26,-7.25,29.46,-7.05), (34.03,-4.515,34.23,-4.315), (34.43,-4.515,34.63,-4.315), (34.065,-2.84,34.265,-2.64), (34.465,-2.84,34.665,-2.64), (28.86,-2.665,29.06,-2.465), (29.26,-2.665,29.46,-2.465), (19.94,-2.365,20.14,-2.165), (20.34,-2.365,20.54,-2.165), (17.285,-2.34,17.485,-2.14), (17.685,-2.34,17.885,-2.14), (34.065,-1.27,34.265,-1.07), (34.465,-1.27,34.665,-1.07), (34.055,0.31,34.255,0.51), (34.455,0.31,34.655,0.51), (34.045,1.89,34.245,2.09), (34.445,1.89,34.645,2.09), (28.865,1.93,29.065,2.13), (29.265,1.93,29.465,2.13), (17.28,2.23,17.48,2.43), (17.68,2.23,17.88,2.43), (19.925,2.23,20.125,2.43), (20.325,2.23,20.525,2.43), (17.27,6.8,17.47,7), (17.67,6.8,17.87,7), (19.935,6.8,20.135,7), (20.335,6.8,20.535,7), (34.035,8.22,34.235,8.42), (34.435,8.22,34.635,8.42), (34.045,9.79,34.245,9.99), (34.445,9.79,34.645,9.99), (34.055,11.37,34.255,11.57), (34.455,11.37,34.655,11.57), (17.27,11.44,17.47,11.64), (17.67,11.44,17.87,11.64), (19.935,11.47,20.135,11.67), (20.335,11.47,20.535,11.67)])
A(opamp, met3, 33.86, -0.905, 1.01, 1.05, 1, 5, 0, 1.58)
A(opamp, met3, 33.82, 3.305, 1.09, 0.53, 1, 3, 0, 1.58)
R(opamp, met3, [(28.6,-12.16,29.72,2.36), (33.81,-4.725,34.85,-4.61), (33.81,-4.61,34.87,-4.105), (33.86,-4.105,34.87,-3.005), (33.82,-3.005,34.91,-2.475), (19.78,-2.49,20.68,-2.465), (33.86,-2.475,34.87,-1.435), (19.74,-2.465,20.74,-2.065), (17.08,-2.415,18.09,-2.065), (17.12,-2.065,18.06,2.125), (19.78,-2.065,20.68,2.105), (33.82,-1.435,34.91,-0.905), (33.81,0.145,34.9,0.675), (33.8,1.725,34.89,2.255), (19.72,2.105,20.73,2.555), (17.06,2.125,18.1,2.535), (17.12,2.535,18.06,6.695), (19.78,2.555,20.68,6.675), (19.73,6.675,20.74,7.125), (17.05,6.695,18.09,7.105), (33.86,6.995,34.87,8.055), (17.12,7.105,18.06,11.335), (19.78,7.125,20.68,11.345), (33.79,8.055,34.88,8.585), (33.86,8.585,34.87,9.625), (33.8,9.625,34.89,10.155), (33.86,10.155,34.87,11.205), (33.81,11.205,34.9,11.735), (17.05,11.335,18.09,11.745), (19.73,11.345,20.74,11.795), (33.86,11.735,34.87,11.74), (17.12,11.745,18.06,11.92), (19.78,11.795,20.68,12.33)])
R(opamp, psdm, [(10.265,-13.625,17.035,-13.545), (10.175,-13.545,17.035,-13.495), (9.815,-13.495,17.035,-13.125), (9.815,-13.125,10.425,-10.465)])
opamp.add(gdstk.Reference(sky130_fd_pr__pfet_01v8_, (34.345,3.565), rotation=pi/2, x_reflection=True))
opamp.add(gdstk.Reference(sky130_fd_pr__nfet_01v8_, (29.16,-3.71), rotation=3*pi/2))
opamp.add(gdstk.Reference(c_sky130_fd_pr__pfet_01v8_, (20.235,4.605), rotation=3*pi/2))
opamp.add(gdstk.Reference(c_sky130_fd_pr__pfet_01v8_, (17.575,4.605), rotation=3*pi/2))
opamp.add(gdstk.Reference(c_sky130_fd_pr__nfet_01v8_, (15.365,-11.96), rotation=pi))
opamp.add(gdstk.Reference(c_sky130_fd_pr__nfet_01v8__, (17.92,-5.77), rotation=pi))
opamp.add(gdstk.Reference(c_sky130_fd_pr__nfet_01v8__, (19.85,-5.77), rotation=pi))
opamp.add(gdstk.Label('VX', (15.302,-7.48), layer=67, texttype=5))
opamp.add(gdstk.Label('V2', (18.14,-3.08), layer=68, texttype=5))
opamp.add(gdstk.Label('V1', (20.38,-3.055), layer=69, texttype=5))
opamp.add(gdstk.Label('VBIAS', (10.56,-8.06), layer=69, texttype=5))
opamp.add(gdstk.Label('VDD', (10.49,13.95), layer=68, texttype=5))
opamp.add(gdstk.Label('MINUS', (22.12,-14.85), layer=69, texttype=5))
opamp.add(gdstk.Label('PLUS', (24.73,-14.91), layer=69, texttype=5))
opamp.add(gdstk.Label('VOUT', (39.36,-6.7), layer=69, texttype=5))
opamp.add(gdstk.Label('VSS', (10.48,-14.94), layer=68, texttype=5))

lib.write_gds('opamp.gds')
